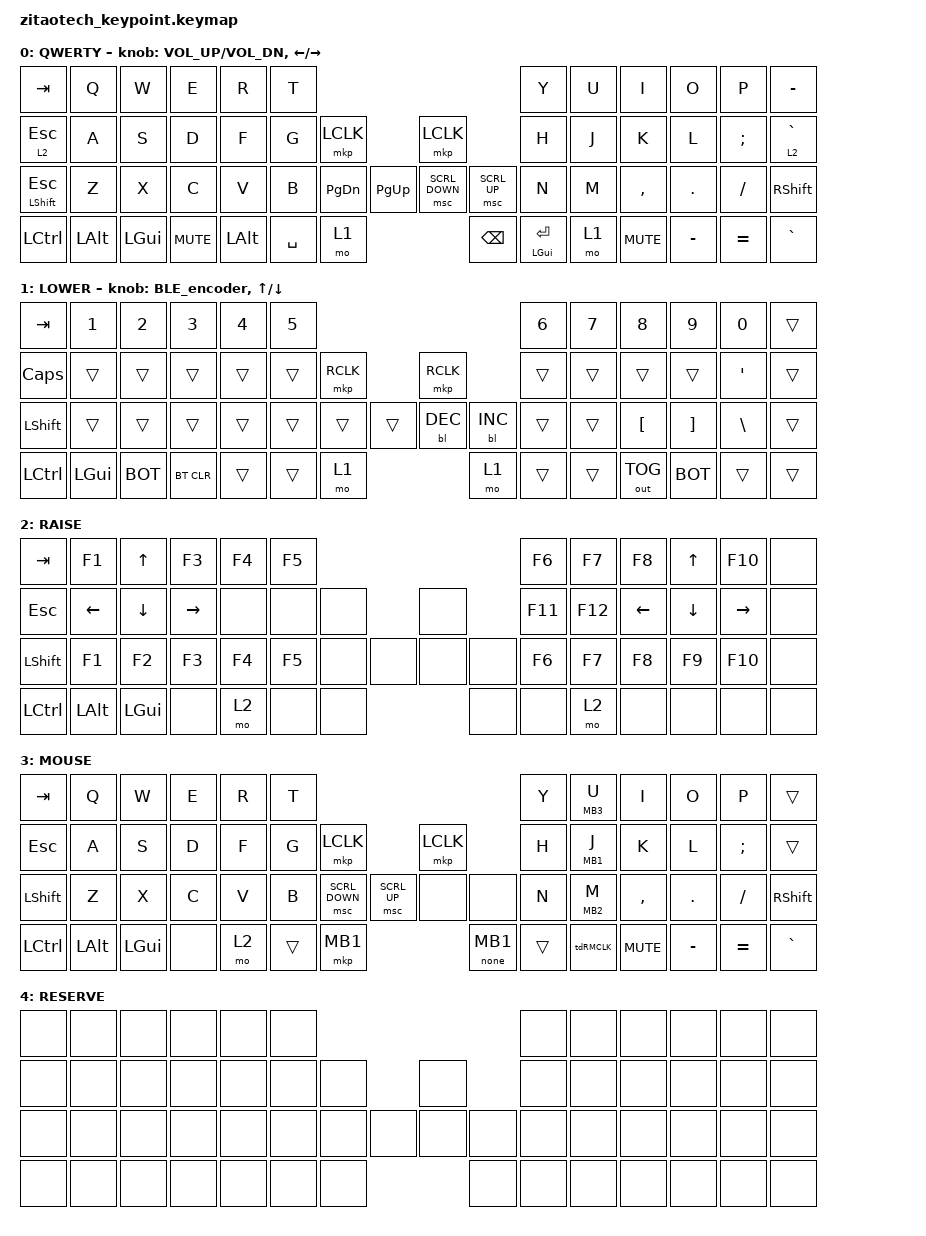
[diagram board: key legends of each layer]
/*
 * Copyright (c) 2025 ZitaoTech
 *
 * SPDX-License-Identifier: MIT
 */

#include <behaviors.dtsi>
#include <dt-bindings/zmk/keys.h>
#include <dt-bindings/zmk/bt.h>
#include <dt-bindings/zmk/outputs.h>
#include <dt-bindings/zmk/pointing.h>
#include <dt-bindings/zmk/mouse.h>
#include <dt-bindings/zmk/backlight.h>
#include <dt-bindings/zmk/ext_power.h>
#include <dt-bindings/zmk/rgb.h>
 
#define LOWER 1
#define RAISE 2
#define MOUSE 3
#define BOT bootloader

/ {
    behaviors {
        td0: tap_dance_0 {
            compatible = "zmk,behavior-tap-dance";
            #binding-cells = <0>;
            tapping-term-ms = <400>;
            bindings = <&mkp LCLK>, <&bt BT_CLR>;
        };
    };
    behaviors {
        tdRMCLK: tap_dance_R_LMouse {
            compatible = "zmk,behavior-tap-dance";
            #binding-cells = <0>;
            tapping-term-ms = <400>;
            bindings = <&mkp RCLK>, <&mkp MCLK>;
        };
    };

    behaviors {
        hm: homerow_mods {
            compatible = "zmk,behavior-hold-tap";
            #binding-cells = <2>;
            tapping-term-ms = <500>;
            bindings = <&kp &kp>;
        };
    };

    behaviors {
         LMouse_sc: behavior_LMouse_Scroll {
           compatible = "zmk,behavior-hold-tap";
           #binding-cells = <2>;
           flavor = "tap-preferred";     /* 单击优先 */
           tapping-term-ms = <200>;       /* 长按阈值 */
           bindings = <&none &mkp>;        /* hold=none, tap=Lmouse */
        };
    };

    behaviors {
         M_kp: behavior_mouse_keypress {
           compatible = "zmk,behavior-hold-tap";
           #binding-cells = <2>;
           flavor = "tap-preferred";     /* 单击优先 */
           tapping-term-ms = <200>;       /* 长按阈值 */
           bindings = <&mkp &kp>;        /* hold=mou key press, tap=key*/
        };
    };

    behaviors {
         lt_tp: behavior_layer_tap_preferred {
           compatible = "zmk,behavior-hold-tap";
           #binding-cells = <2>;
           flavor = "tap-preferred";     /* 单击优先 */
           tapping-term-ms = <200>;       /* 长按阈值 */
           bindings = <&mo &kp>;        /* hold=layer, tap=key*/
        };
    };

    behaviors {
        BLE_encoder: BLE_encoder {
            compatible = "zmk,behavior-sensor-rotate";
            #sensor-binding-cells = <0>;
            bindings = <&bt BT_NXT>, <&bt BT_PRV>;
        };
    };


    keymap {
        compatible = "zmk,keymap";

         default_layer {
            display-name = "QWERTY";    
           bindings = <
&kp TAB &kp Q  &kp W      &kp E      &kp R     &kp T                                                                         &kp Y       &kp U    &kp I      &kp O     &kp P     &kp MINUS
&lt_tp 2 ESC  &kp A    &kp S      &kp D      &kp F     &kp G     &mkp LCLK                    &mkp LCLK                      &kp H       &kp J    &kp K      &kp L     &kp SEMI  &lt_tp 2 GRAVE
&mt LSHFT ESC &kp Z    &kp X      &kp C      &kp V     &kp B     &kp PG_DN  &kp PG_UP         &msc SCRL_DOWN  &msc SCRL_UP   &kp N       &kp M    &kp COMMA  &kp DOT   &kp FSLH  &kp RSHFT
&kp LCTRL     &kp LALT &kp LGUI   &kp C_MUTE &kp LALT  &kp SPACE &mo 1                                        &kp BSPC       &mt LGUI RET &mo 1    &kp C_MUTE &kp MINUS &kp EQUAL &kp GRAVE
           >;
           sensor-bindings = <&inc_dec_kp C_VOL_UP C_VOL_DN &inc_dec_kp LEFT RIGHT>;
        };


        lower_layer {
            display-name = "LOWER";
            bindings = <
&kp TAB  &kp N1    &kp N2     &kp N3       &kp N4   &kp N5                                                               &kp N6    &kp N7   &kp N8       &kp N9    &kp N0     &trans
&kp CAPS  &trans    &trans     &trans       &trans   &trans           &mkp RCLK                    &mkp RCLK              &trans    &trans   &trans       &trans    &kp SQT    &trans
&kp LSHFT &trans    &trans     &trans       &trans   &trans           &trans     &trans            &bl BL_DEC  &bl BL_INC &trans    &trans   &kp LBKT     &kp RBKT  &kp BSLH   &trans
&kp LCTRL &kp LGUI  &BOT       &bt BT_CLR   &trans   &trans           &mo 1                                    &mo 1      &trans    &trans   &out OUT_TOG &BOT      &trans     &trans
            >;
             sensor-bindings = <&BLE_encoder &inc_dec_kp UP DOWN>;
        };

        raise_layer {
            display-name = "RAISE";
            bindings = <
&kp TAB       &kp F1    &kp UP     &kp F3    &kp F4   &kp F5                                                    &kp F6      &kp F7  &kp F8   &kp UP   &kp F10   &none
&kp ESC      &kp LEFT  &kp DOWN   &kp RIGHT &none    &none   &none                        &none                 &kp F11     &kp F12  &kp LEFT &kp DOWN &kp RIGHT &none
&kp LSHFT     &kp F1    &kp F2     &kp F3    &kp F4   &kp F5   &none   &none                &none  &none         &kp F6      &kp F7   &kp F8   &kp F9   &kp F10       &none
&kp LCTRL     &kp LALT  &kp LGUI   &none     &mo 2    &none   &none                               &none         &none       &mo 2   &none    &none  &none       &none
            >;
        };

        MOUSE_layer {
            display-name = "MOUSE";
            bindings = <
&kp TAB   &kp Q     &kp W          &kp E     &kp R     &kp T                                                         &kp Y       &M_kp MB3 U    &kp I      &kp O     &kp P     &trans
&kp ESC  &kp A     &kp S          &kp D     &kp F     &kp G      &mkp LCLK                         &mkp LCLK        &kp H       &M_kp MB1 J    &kp K      &kp L     &kp SEMI  &trans
&kp LSHFT &kp Z     &kp X          &kp C     &kp V     &kp B      &msc SCRL_DOWN   &msc SCRL_UP     &none  &none     &kp N       &M_kp MB2 M    &kp COMMA  &kp DOT   &kp FSLH  &kp RSHFT
&kp LCTRL &kp LALT  &kp  LGUI      &none     &mo 2     &trans     &mkp MB1                         &LMouse_sc 0 MB1  &trans    &tdRMCLK          &kp C_MUTE &kp MINUS &kp EQUAL &kp GRAVE
            >;
        };

        RES_layer {
            display-name = "RESERVE";
            bindings = <
&none     &none     &none      &none    &none    &none                                                 &none   &none  &none   &none  &none  &none
&none     &none     &none      &none    &none    &none   &none                        &none            &none   &none  &none   &none  &none  &none
&none     &none     &none      &none    &none    &none   &none   &none                &none  &none     &none   &none  &none   &none  &none  &none
&none     &none     &none      &none    &none    &none   &none                               &none     &none   &none  &none   &none  &none  &none 
            >;
        };

    };
};
